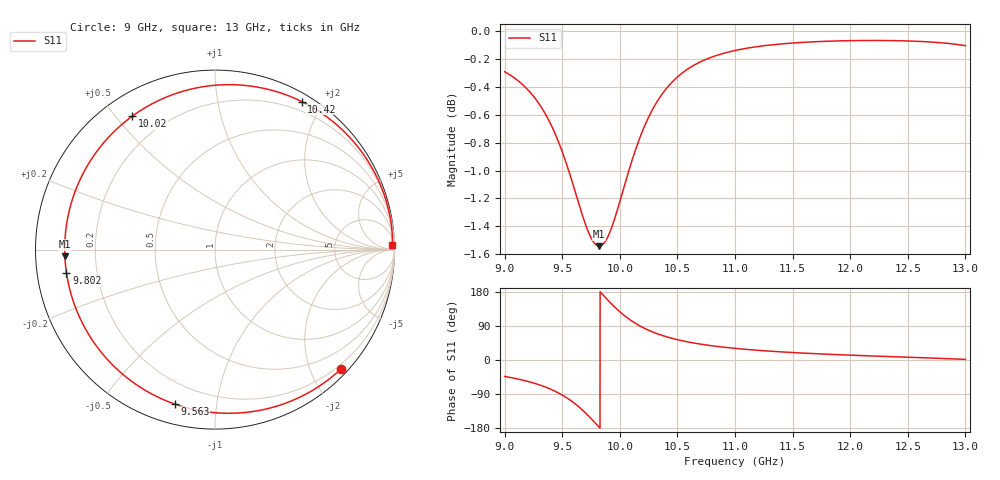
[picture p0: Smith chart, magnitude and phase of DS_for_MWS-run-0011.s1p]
! TOUCHSTONE file generated by CST DESIGN STUDIO
! Date and time: Tue Feb  4 17:59:58 2025
! Project name: C:\Work\MatlabApps\UnitCellOptimizationMatlab\CST\unitcell.cst
! Tree item: Tasks\Sweep1\SPara1\S-Parameters
! Header version: 2024
! Port assignment regex: !\s*Touchstone port\s*([0-9]+)\s*=\s*(CST MWS port|CST DES external port|CST DES block port)\s*(.+)\s* \(\"(.*)\"\)(\s*mode\s*([0-9]+))?.*
! Touchstone port assignment:
! Touchstone port 1 = CST DES external port 1 ("")
# GHz S MA R 50
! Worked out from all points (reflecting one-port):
!   4001 points, 9 GHz to 13 GHz, reference 50 ohm
!   lowest |S11| = -1.5 dB at 9.821 GHz (marker M1), VSWR 11.29, Z = 4.43 - j1.13 ohm
!   phase of S11 starts at -43 deg and turns -315 deg over the sweep
!   S11 on the Smith chart (normalised r, x): 9 GHz: 0.12, -2.51; 9.563 GHz: 0.09, -0.77; 9.802 GHz: 0.09, -0.08; 10.02 GHz: 0.09, +0.55; 10.42 GHz: 0.09, +1.74; 13 GHz: 25, +60
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9  0.9671 -43.4
9.146  0.9577 -52.3
9.278  0.9444 -63.2
9.392  0.9276 -76.0
9.5  0.9053 -92.5
9.563  0.8893 -104.6
9.623  0.8729 -118.3
9.68  0.8577 -133.3
9.746  0.8437 -153.0
9.802  0.8377 -171.1
9.821  0.8372 -177.4
9.861  0.8391 169.4
9.902  0.8447 156.1
9.952  0.8556 140.8
10  0.8686 127.3
10.021  0.8746 121.9
10.094  0.8954 105.0
10.177  0.9164 89.5
10.295  0.9391 72.8
10.424  0.9558 59.7
10.5  0.9629 53.7
10.601  0.9699 47.1
10.716  0.9757 41.2
11  0.9842 30.7
11.5  0.9903 19.7
12  0.9922 12.8
12.5  0.992 7.3
13  0.9881 1.6
